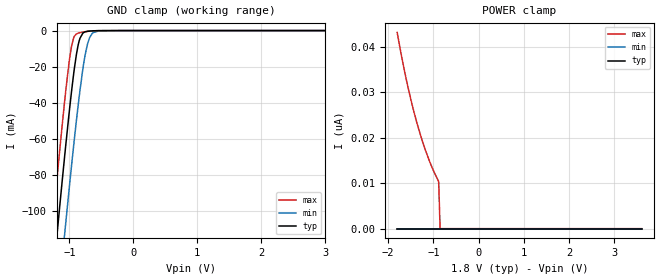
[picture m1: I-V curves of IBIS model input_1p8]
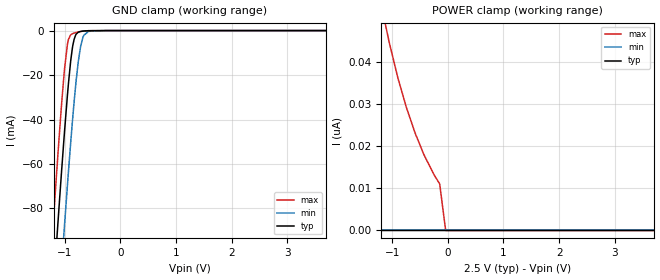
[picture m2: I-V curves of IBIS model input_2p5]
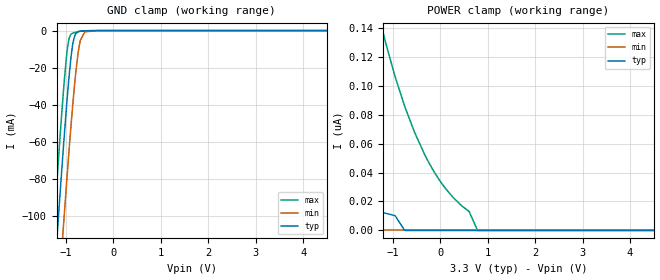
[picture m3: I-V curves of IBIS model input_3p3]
|Texas Instruments Incorporated
| Single Power Supply Single Buffer GATE with 3-State Output CMOS Logic
| Level Shifter
| Marketing part#   Digital Voltage Range   Package-type   #pins
| SN74LV1T34DBVR   1.6V-5.5V   SOT-23   5
| SN74LV1T34DCKR   1.6V-5.5V   SC70   5
[IBIS Ver]   4.1
[File name]   sn74lv1t34.ibs
[File Rev]   1.0
[Date]   3/23/2017
[Source]
| Texas Instruments Incorporated.
| Analog-eLab Design Center, HPA
| 12500 TI Blvd
| Dallas, TX -75243
[Notes]   Revision History:
| Rev 1.0: 3/23/2017
| - Model based on parent device LV1T125.
| - C_comp although listed in numerical order of value are
|   obtained from varying PVT conditions. For PVT conditions for
|   each specific value refer the buffer description under
|   respective [Model]. IBIS model user is responsible for using
|   appropriate C_comp to simulate for Signal Integrity.
[Disclaimer]
| This model is designed as an aid for customers of Texas Instruments.
| TI and its licensors and suppliers make no warranties, either expressed
| or implied, with respect to this  model, including the warranties of
| merchantability or fitness for a particular purpose. The model is
| provided solely on an "as is" basis. The entire risk as to its quality
| and performance is with the customer.
[Copyright]
(C) Copyright 2017 Texas Instruments Incorporated.All rights reserved.
|   SN74LV1T34DBV
[Component]   SN74LV1T34DBV
[Manufacturer]   TI
[Package]   |5 SOT-23  -  DBV package
|   typ   min   max
R_pkg   0.06209   0.05045   0.07001
L_pkg   1.83153nH   1.49378nH   2.04843nH
C_pkg   0.26256pF   0.24997pF   0.27952pF
[Pin]  signal_name   model_name   R_pin   L_pin   C_pin
1   NC   NC   0.07001   2.04843nH  0.27952pF
2   A   INPUT   0.05045   1.49378nH  0.25820pF
3   GND   GND   0.06850   2.45772nH  0.39635pF
4   Y   OUTPUT   0.06582   1.95239nH  0.24997pF
5   VCC   POWER   0.06589   1.95370nH  0.25029pF
|   SN74LV1T34DCK
[Component]   SN74LV1T34DCK
[Manufacturer]   TI
[Package]   |5 SC70   -  DCK package
|   typ   min   max
R_pkg   0.04747   0.04577   0.04900
L_pkg   1.58367nH   1.46085nH   1.66427nH
C_pkg   0.23613pF   0.22997pF   0.24076pF
[Pin]  signal_name   model_name   R_pin   L_pin   C_pin
1   NC   NC   0.04900   1.62590nH  0.24076pF
2   A   INPUT   0.04577   1.46085nH  0.23766pF
3   GND   GND   0.04635   1.67071nH  0.26247pF
4   Y   OUTPUT   0.04763   1.66427nH  0.22997pF
5   VCC   POWER   0.04778   1.66679nH  0.23019pF
|   Model Selectors
[Model Selector] INPUT
input_1p8   1.8V  digital input
input_2p5   2.5V  digital input
input_3p3   3.3V  digital input
input_5p0   5.0V  digital input
[Model Selector] OUTPUT
output_1p8   1.8V  digital 3-state
output_2p5   2.5V  digital 3-state
output_3p3   3.3V  digital 3-state
output_5p0   5.0V  digital 3-state
| Models and submodels in the file (8): input_1p8 (Input), input_2p5 (Input), input_3p3 (Input), input_5p0 (Input), output_1p8 (3-state), output_2p5 (3-state), output_3p3 (3-state), output_5p0 (3-state)
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|   input_1p8 Model
[Model]   input_1p8
Model_type   Input
Vinl = 0.57
Vinh = 0.95
|   typ   min   max
|   (nom PVT)   (fast PVT)   (slow PVT)
C_comp   6.973e-13   6.927e-13   7.020e-13
[Model spec]
|subparameter
Vinl   0.57   0.57   0.57
Vinh   0.95   0.95   0.99
| Where nom  PVT is Nominal Process, 1.8V, 40C
|   Fast PVT is Strong Process,  1.98V, -40C
|   Slow PVT is Weak Process,   1.62V, 140C
[Voltage Range]   1.8   1.62   1.98
|Junction Temperature
[Temperature Range]   40   140   -40
[Power Clamp Reference]   1.8   1.62   1.98
[GND Clamp Reference]   0   0   0
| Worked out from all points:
|   GND clamp passes 1 mA (typ) near -0.77 V on its own axis
[GND Clamp]
|   Voltage   I(typ)   I(min)   I(max)
-1.8V     -349mA     -390mA     -320.7mA
-1.4V     -191.8mA   -234.7mA   -161.5mA
-1.2V     -115.7mA   -159.1mA   -84.63mA
-1.165V   -102.5mA   -145.9mA   -71.47mA
-1.071V   -68.72mA   -111.8mA   -38.32mA
-968.4mV  -34.53mA   -75.73mA   -9.255mA
-887.4mV  -12.81mA   -49.13mA   -1.824mA
-833.4mV  -4.24mA    -33.01mA   -1.152mA
-750.2mV  -670.7uA   -12.99mA   -614.3uA
-680.6mV  -250.8uA   -3.714mA   -303.4uA
-623.9mV  -121.5uA   -1.06mA    -143.4uA
3.6V      0A         0A         0A
[POWER Clamp]
|   Voltage   I(typ)   I(min)   I(max)
-1.8V     0A         0A         43.21nA
-1.675V   0A         0A         36.55nA
-1.588V   0A         0A         32.38nA
-1.457V   0A         0A         26.8nA
-1.366V   0A         0A         23.36nA
-1.251V   0A         0A         19.51nA
-1.085V   0A         0A         14.84nA
-984.2mV  0A         0A         12.45nA
-883.1mV  0A         0A         10.37nA
-851.4mV  0A         0A         0A
3.6V      0A         0A         0A
|   input_2p5 Model
[Model]   input_2p5
Model_type   Input
Vinl = 0.75
Vinh = 1.145
|   typ   min   max
|   (nom PVT)   (fast PVT)   (slow PVT)
C_comp   6.859e-13   6.814e-13   6.904e-13
[Model spec]
|subparameter
Vinl   0.75   0.75   0.75
Vinh   1.145   1.145   1.22
| Where nom  PVT is Nominal Process, 2.5V, 40C
|   Fast PVT is Strong Process,  2.75V, -40C
|   Slow PVT is Weak Process,   2.25V, 140C
[Voltage Range]   2.5   2.25   2.75
|Junction Temperature
[Temperature Range]   40   140   -40
[Power Clamp Reference]   2.5   2.25   2.75
[GND Clamp Reference]   0   0   0
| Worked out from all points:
|   GND clamp passes 1 mA (typ) near -0.77 V on its own axis
[GND Clamp]
|   Voltage   I(typ)   I(min)   I(max)
-2.5V     -629.8mA   -667.3mA   -604.3mA
-1.232V   -127.8mA   -171.2mA   -96.85mA
-1.145V   -95.5mA    -138.9mA   -64.49mA
-1.105V   -80.81mA   -124.1mA   -50mA
-1.008V   -47.03mA   -89.23mA   -18.62mA
-943mV    -26.96mA   -67.16mA   -5.2mA
-862.5mV  -8.087mA   -41.49mA   -1.429mA
-792.3mV  -1.573mA   -22.16mA   -860.5uA
-713.5mV  -383.8uA   -7.11mA    -434.7uA
-654.8mV  -181.4uA   -2.119mA   -220.4uA
-571.7mV  -57.55uA   -335.5uA   -61.53uA
5V        0A         0A         0A
[POWER Clamp]
|   Voltage   I(typ)   I(min)   I(max)
-2.5V     17.64nA    0A         203.4nA
-1.738V   10.07nA    0A         99.15nA
-1.675V   0A         0A         92.8nA
-1.185V   0A         0A         52.7nA
-1.051V   0A         0A         44.4nA
-890mV    0A         0A         35.79nA
-748.2mV  0A         0A         29.29nA
-587.5mV  0A         0A         23.05nA
-423.8mV  0A         0A         17.78nA
-146mV    0A         0A         11.01nA
-38.75mV  0A         0A         0A
5V        0A         0A         0A
|   input_3p3 Model
[Model]   input_3p3
Model_type   Input
Vinl = 0.8
Vinh = 1.37
|   typ   min   max
|   (nom PVT)   (fast PVT)   (slow PVT)
C_comp   6.770e-13   6.726e-13   6.814e-13
[Model spec]
|subparameter
Vinl   0.8   0.8   0.8
Vinh   1.37   1.37   1.47
| Where nom  PVT is Nominal Process, 3.3V, 40C
|   Fast PVT is Strong Process,  3.6V, -40C
|   Slow PVT is Weak Process,   3V, 140C
[Voltage Range]   3.3   3   3.6
|Junction Temperature
[Temperature Range]   40   140   -40
[Power Clamp Reference]   3.3   3   3.6
[GND Clamp Reference]   0   0   0
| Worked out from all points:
|   GND clamp passes 1 mA (typ) near -0.76 V on its own axis
[GND Clamp]
|   Voltage   I(typ)   I(min)   I(max)
-3.3V     -954.2mA   -987.6mA   -931.2mA
-1.647V   -288.4mA   -330.2mA   -259.4mA
-1.252V   -135mA     -178.4mA   -104.1mA
-1.226V   -125.5mA   -168.9mA   -94.54mA
-1.126V   -88.25mA   -131.6mA   -57.31mA
-1.065V   -66.62mA   -109.6mA   -36.32mA
-966.9mV  -34.07mA   -75.22mA   -8.966mA
-861mV    -7.844mA   -41.04mA   -1.412mA
-795.3mV  -1.688mA   -22.9mA    -880.2uA
-712.8mV  -380.1uA   -7.022mA   -431.6uA
-603mV    -91.15uA   -664.8uA   -104.1uA
6.6V      0A         0A         0A
[POWER Clamp]
|   Voltage   I(typ)   I(min)   I(max)
-3.3V     46.68nA    0A         641.2nA
-2.436V   28.44nA    0A         371.7nA
-1.345V   13.71nA    0A         155.4nA
-1.171V   12.05nA    0A         132nA
-952.8mV  10.19nA    0A         106.1nA
-751.2mV  0A         0A         85.68nA
-542.4mV  0A         0A         67.68nA
-330mV    0A         0A         52.37nA
112.8mV   0A         0A         28.82nA
607.2mV   0A         0A         13.09nA
786mV     0A         0A         0A
6.6V      0A         0A         0A
